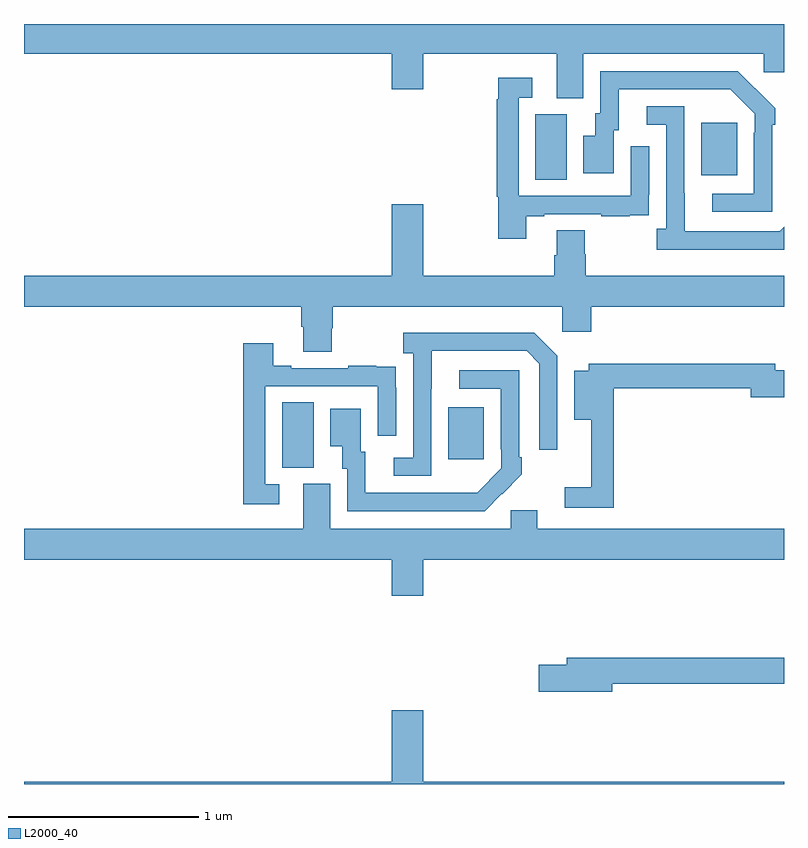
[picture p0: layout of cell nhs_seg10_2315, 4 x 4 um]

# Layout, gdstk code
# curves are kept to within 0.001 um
import gdstk
lib = gdstk.Library(unit=1e-6, precision=1e-09)
def R(c, l, rs):  # rectangles x0, y0, x1, y1
    for r in rs: c.add(gdstk.rectangle(r[:2], r[2:], *l))
def P(c, l, *ps):  # polygons
    for p in ps: c.add(gdstk.Polygon(p, *l))
L2000_40 = (2000, 40)

nhs_seg10_2315 = lib.new_cell('nhs_seg10_2315')
R(nhs_seg10_2315, L2000_40, [(236.36,1270.165,236.524,1270.508), (237.233,1270.209,237.421,1270.483), (237.692,1271.68,237.856,1272.024), (238.565,1271.705,238.753,1271.98)])
P(nhs_seg10_2315, L2000_40, [(237.943,1272.344),(238.893,1272.344),(238.893,1272.246),(239,1272.246),(239,1272.5),(235,1272.5),(235,1272.344),(236.936,1272.344),(236.936,1272.156),(237.1,1272.156),(237.1,1272.344),(237.803,1272.344),(237.803,1272.109),(237.943,1272.109)],
  [(238.938,1271.969),(238.953,1271.969),(238.953,1272.057),(238.756,1272.252),(238.032,1272.252),(238.032,1272.03),(238.007,1272.03),(238.007,1271.911),(237.944,1271.911),(237.944,1271.715),(238.105,1271.715),(238.105,1271.94),(238.129,1271.94),(238.129,1272.156),(238.717,1272.156),(238.845,1272.027),(238.845,1271.927),(238.842,1271.927),(238.842,1271.607),(238.623,1271.607),(238.623,1271.511),(238.938,1271.511)],
  [(237.643,1271.487),(237.739,1271.487),(237.739,1271.499),(238.039,1271.499),(238.039,1271.487),(238.187,1271.487),(238.187,1271.493),(238.289,1271.493),(238.289,1271.602),(238.29,1271.602),(238.29,1271.857),(238.194,1271.857),(238.194,1271.595),(237.603,1271.595),(237.603,1272.111),(237.676,1272.111),(237.676,1272.217),(237.495,1272.217),(237.495,1272.104),(237.487,1272.104),(237.487,1271.592),(237.495,1271.592),(237.495,1271.37),(237.643,1271.37)],
  [(239,1271.432),(238.977,1271.409),(238.477,1271.409),(238.476,1272.066),(238.278,1272.066),(238.278,1271.97),(238.38,1271.97),(238.38,1271.422),(238.329,1271.422),(238.329,1271.312),(239,1271.312)],
  [(236.619,1270.899),(236.624,1270.899),(236.624,1271.012),(237.834,1271.012),(237.834,1270.881),(237.986,1270.881),(237.986,1271.012),(239,1271.012),(239,1271.176),(237.956,1271.176),(237.956,1271.289),(237.951,1271.289),(237.951,1271.414),(237.803,1271.414),(237.803,1271.282),(237.791,1271.282),(237.791,1271.176),(237.1,1271.176),(237.1,1271.551),(236.936,1271.551),(236.936,1271.176),(235,1271.176),(235,1271.012),(236.459,1271.012),(236.459,1270.906),(236.471,1270.906),(236.471,1270.774),(236.619,1270.774)],
  [(237.144,1270.579),(237.145,1270.779),(237.645,1270.779),(237.711,1270.713),(237.711,1270.26),(237.807,1270.26),(237.807,1270.755),(237.686,1270.876),(236.997,1270.876),(236.997,1270.766),(237.048,1270.766),(237.048,1270.218),(236.946,1270.218),(236.946,1270.122),(237.144,1270.122)],
  [(236.344,1270.077),(236.271,1270.077),(236.271,1270.593),(236.862,1270.593),(236.862,1270.332),(236.958,1270.332),(236.958,1270.586),(236.957,1270.586),(236.957,1270.695),(236.855,1270.695),(236.855,1270.702),(236.707,1270.702),(236.707,1270.689),(236.407,1270.689),(236.407,1270.702),(236.311,1270.702),(236.311,1270.819),(236.155,1270.819),(236.155,1269.972),(236.344,1269.972)],
  [(238.103,1270.582),(238.826,1270.582),(238.826,1270.535),(239,1270.535),(239,1270.677),(238.954,1270.677),(238.954,1270.711),(237.972,1270.711),(237.972,1270.675),(237.896,1270.675),(237.896,1270.418),(237.986,1270.418),(237.986,1270.063),(237.846,1270.063),(237.846,1269.954),(238.103,1269.954)],
  [(237.515,1270.027),(237.516,1270.026),(237.621,1270.131),(237.621,1270.219),(237.606,1270.219),(237.606,1270.677),(237.291,1270.677),(237.291,1270.581),(237.51,1270.581),(237.51,1270.261),(237.513,1270.261),(237.513,1270.161),(237.385,1270.033),(236.797,1270.032),(236.797,1270.248),(236.773,1270.248),(236.773,1270.474),(236.612,1270.474),(236.612,1270.277),(236.675,1270.277),(236.675,1270.158),(236.7,1270.158),(236.7,1269.936),(237.424,1269.936)],
  [(237.1,1269.68),(239,1269.68),(239,1269.844),(237.7,1269.844),(237.7,1269.942),(237.561,1269.942),(237.561,1269.844),(236.611,1269.844),(236.611,1270.08),(236.471,1270.08),(236.471,1269.844),(235,1269.844),(235,1269.68),(236.936,1269.68),(236.936,1269.492),(237.1,1269.492)],
  [(238.096,1269.028),(239,1269.028),(239,1269.164),(237.857,1269.164),(237.857,1269.128),(237.708,1269.128),(237.708,1268.986),(238.096,1268.986)],
  [(239,1268.512),(237.1,1268.512),(237.1,1268.887),(236.936,1268.887),(236.936,1268.512),(235,1268.512),(235,1268.5),(239,1268.5)])

lib.write_gds('nhs_seg10_2315.gds')
